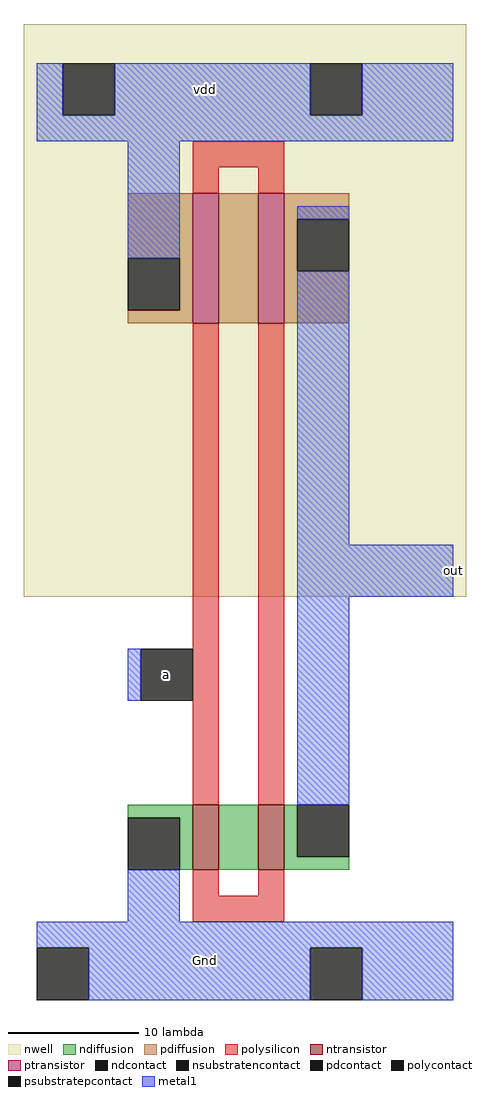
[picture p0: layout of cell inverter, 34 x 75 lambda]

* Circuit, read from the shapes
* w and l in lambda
.subckt inverter Gnd a out vdd
M1 n1 a Gnd Gnd nfet w=5 l=2
M2 out a n1 Gnd nfet w=5 l=2
M3 n2 a vdd vdd pfet w=10 l=2
M4 out a n2 vdd pfet w=10 l=2
.ends

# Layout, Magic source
magic
tech min2
<< nwell >>
rect -12 24 22 68
<< ntransistor >>
rect 1 3 3 8
rect 6 3 8 8
<< ptransistor >>
rect 1 45 3 55
rect 6 45 8 55
<< ndiffusion >>
rect -4 7 1 8
rect 0 3 1 7
rect 3 3 6 8
rect 8 4 9 8
rect 8 3 13 4
<< pdiffusion >>
rect -4 50 1 55
rect 0 46 1 50
rect -4 45 1 46
rect 3 45 6 55
rect 8 53 13 55
rect 8 49 9 53
rect 8 45 13 49
<< ndcontact >>
rect -4 3 0 7
rect 9 4 13 8
<< pdcontact >>
rect -4 46 0 50
rect 9 49 13 53
<< psubstratepcontact >>
rect -11 -7 -7 -3
rect 10 -7 14 -3
<< nsubstratencontact >>
rect -9 61 -5 65
rect 10 61 14 65
<< polysilicon >>
rect 1 57 8 59
rect 1 55 3 57
rect 6 55 8 57
rect 1 8 3 45
rect 6 8 8 45
rect 1 1 3 3
rect 6 1 8 3
rect 1 -1 8 1
<< polycontact >>
rect -3 16 1 20
<< metal1 >>
rect -11 61 -9 65
rect -5 61 10 65
rect 14 61 21 65
rect -11 59 21 61
rect -4 50 0 59
rect 9 53 13 54
rect 9 28 13 49
rect 9 24 21 28
rect -4 16 -3 20
rect 9 8 13 24
rect -4 -1 0 3
rect -11 -3 21 -1
rect -7 -7 10 -3
rect 14 -7 21 -3
<< labels >>
rlabel polycontact -1 18 -1 18 1 a
rlabel metal1 2 -4 2 -4 1 Gnd
rlabel metal1 2 63 2 63 5 vdd
rlabel metal1 21 24 21 28 7 out
<< end >>
